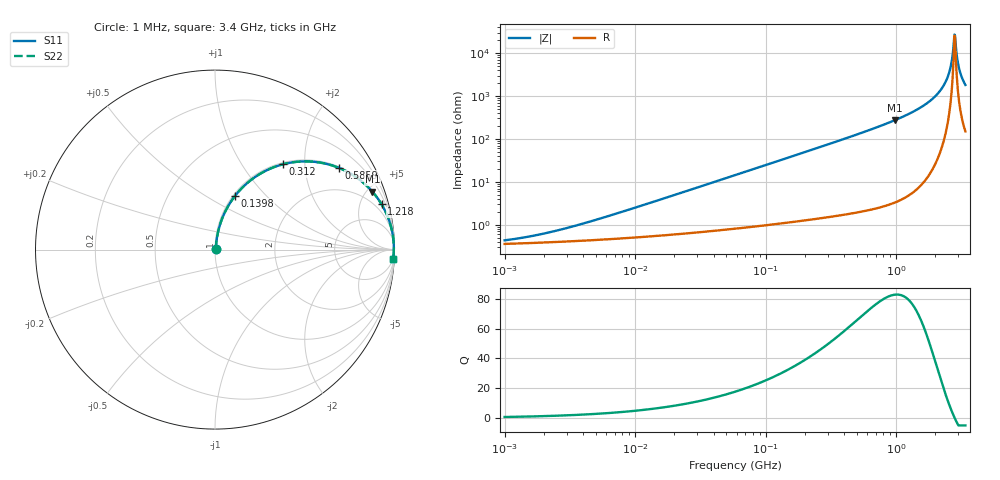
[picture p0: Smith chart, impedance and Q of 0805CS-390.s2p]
# MHz S MA R 50
!Freq  MagS11  AngS11  MagS21  AngS21  MagS12  AngS12  MagS22  AngS22
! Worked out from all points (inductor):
!   801 points, 1 MHz to 3.4 GHz, reference 50 ohm
!   read as one part in series: L = 39 nH near 5.516 MHz
!   highest Q = 82.8 at 973.9 MHz (marker M1), where L = 44.3 nH
!   self-resonance near 2.803 GHz
!   S11 on the Smith chart (normalised r, x): 1 MHz: 1.01, +0.00; 139.8 MHz: 1.02, +0.69; 312 MHz: 1.03, +1.55; 585.9 MHz: 1.04, +3.00; 1.218 GHz: 1.09, +7.34; 3.4 GHz: 4, -36
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1  0.004324 34.2  0.9964 -0.1  0.9964 -0.1  0.004324 34.2
1.89716  0.006005 50.2  0.9962 -0.3  0.9962 -0.3  0.006005 50.2
3.904116  0.01042 65.5  0.9957 -0.5  0.9957 -0.5  0.01042 65.5
15.08798  0.03716 79.4  0.9938 -2.1  0.9938 -2.1  0.03716 79.4
58.30952  0.1406 78.7  0.9821 -8.1  0.9821 -8.1  0.1406 78.7
139.757  0.3217 69.4  0.9366 -18.8  0.9366 -18.8  0.3217 69.4
227.6471  0.4848 59.6  0.8632 -29.0  0.8632 -29.0  0.4848 59.6
311.9658  0.6064 51.6  0.7833 -37.3  0.7833 -37.3  0.6064 51.6
585.8637  0.8268 33.4  0.5509 -55.8  0.5509 -55.8  0.8268 33.4
879.7728  0.9185 22.6  0.3844 -66.7  0.3844 -66.7  0.9185 22.6
973.8993  0.9346 20.2  0.3447 -69.1  0.3447 -69.1  0.9346 20.2
1217.951  0.9618 15.2  0.2619 -74.1  0.2619 -74.1  0.9618 15.2
1756.088  0.9875 8.1  0.1402 -80.9  0.1402 -80.9  0.9875 8.1
2218.586  0.9948 4.0  0.06935 -83.7  0.06935 -83.7  0.9948 4.0
2531.995  0.9964 1.8  0.0308 -82.5  0.0308 -82.5  0.9964 1.8
2637.061  0.9966 1.1  0.01913 -79.2  0.01913 -79.2  0.9966 1.1
2746.487  0.9966 0.4  0.007863 -64.1  0.007863 -64.1  0.9966 0.4
2802.892  0.9965 0.1  0.003674 -19.5  0.003674 -19.5  0.9965 0.1
2889.677  0.9964 -0.4  0.00839 64.2  0.00839 64.2  0.9964 -0.4
3009.586  0.996 -1.1  0.0197 77.8  0.0197 77.8  0.996 -1.1
3134.47  0.9955 -1.8  0.03135 80.9  0.03135 80.9  0.9955 -1.8
3400  0.994 -3.1  0.05491 82.1  0.05491 82.1  0.994 -3.1
